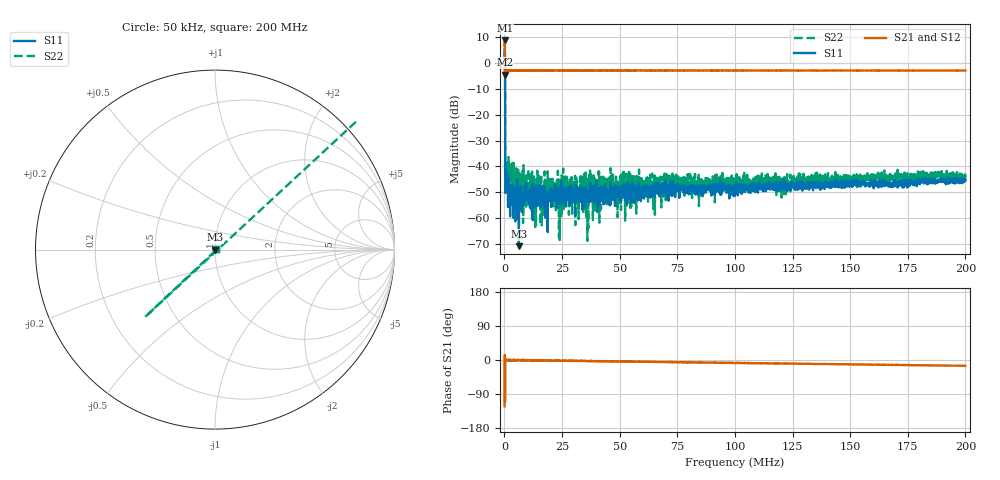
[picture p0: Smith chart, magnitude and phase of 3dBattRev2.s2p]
! 19-Feb-26 2:58:38 PM
! E:\VNA_MEASUREMENTS\RECBLOCK\3DBATTREV2.S2P
! CHANNEL.1
! TR.MEASUREMENT
! CORRECTED.DATA
# GHZ S RI R 50.0
! FREQ.GHZ  S11RE  S11IM  S21RE  S21IM  S12RE  S12IM  S22RE  S22IM
!; PortSelection: Port_12
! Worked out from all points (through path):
!   2000 points, 50 kHz to 200 MHz, reference 50 ohm
!   highest |S21| = 8.58 dB at 150 kHz (marker M1); lowest = -4.6 dB at 250 kHz (marker M2)
!   lowest |S11| = -70.7 dB at 6.252 MHz (marker M3), VSWR 1.00, Z = 50 - j0.022 ohm
!   |S11| at or under -10 dB: 272.9 kHz to end of sweep
!   |S22| runs from -68.8 to 3.1 dB; largest |S21 - S12| = 1.8
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5e-05  -1.345 0.485  -1.133 -1.796  0.2992 -0.6884  0.7289 -1.234
0.000150025  1.112 1.512  2.614 0.6112  0.913 0.9728  0.7852 0.7122
0.00025005  1.173 0.433  -0.2019 -0.5561  1.237 0.3389  -0.3902 -0.3758
0.001150275  0.00204 0.00252  0.7004 -0.00718  0.7046 -0.00325  -0.00168 -0.00285
0.001350325  -0.002 0.00252  0.7044 0.00679  0.702 -0.00232  0.0013 0.0048
0.004351076  0.000815 -0.000991  0.7042 -0.000743  0.7079 -0.00275  0.000759 0.00345
0.006251551  -0.000189 -0.00022  0.7061 -0.00606  0.7064 -0.00459  0.00163 0.00143
0.01195298  0.00167 0.00101  0.715 -0.00303  0.7093 -0.0122  0.00797 0.000346
0.0128532  0.00238 0.000732  0.7082 -0.015  0.7059 -0.0106  0.00223 -0.000188
0.01505375  0.00433 0.000927  0.7138 -0.016  0.7083 -0.0146  0.00384 -0.00181
0.01615403  0.0023 0.00114  0.7069 -0.0205  0.7073 -0.0163  0.000393 0.000619
0.01835458  0.00291 0.000803  0.7065 -0.0171  0.7077 -0.0171  0.00298 0.00138
0.02465615  0.00486 0.00181  0.7118 -0.0283  0.7049 -0.0265  0.000201 -0.00102
0.02575643  0.00277 0.000745  0.7031 -0.0209  0.7061 -0.0238  0.00567 0.00214
0.03345835  0.00198 0.000608  0.7094 -0.0328  0.7081 -0.0336  0.00236 0.0013
0.04216053  0.00307 0.00103  0.7093 -0.0424  0.7067 -0.0394  0.00268 0.00281
0.04676168  0.00211 0.00162  0.702 -0.0486  0.708 -0.045  0.00648 0.00276
0.06676668  0.00329 0.00265  0.7041 -0.0681  0.7057 -0.0643  0.00553 0.00129
0.100075  0.00294 0.00179  0.6999 -0.0988  0.6993 -0.0935  0.00227 0.00291
0.1333833  0.00348 0.0021  0.6973 -0.1258  0.6956 -0.1257  0.00354 0.00384
0.1666917  0.00392 0.00258  0.6892 -0.1565  0.687 -0.156  0.0048 0.00434
0.2  0.00461 0.00284  0.6838 -0.1862  0.6785 -0.186  0.00304 0.00396
